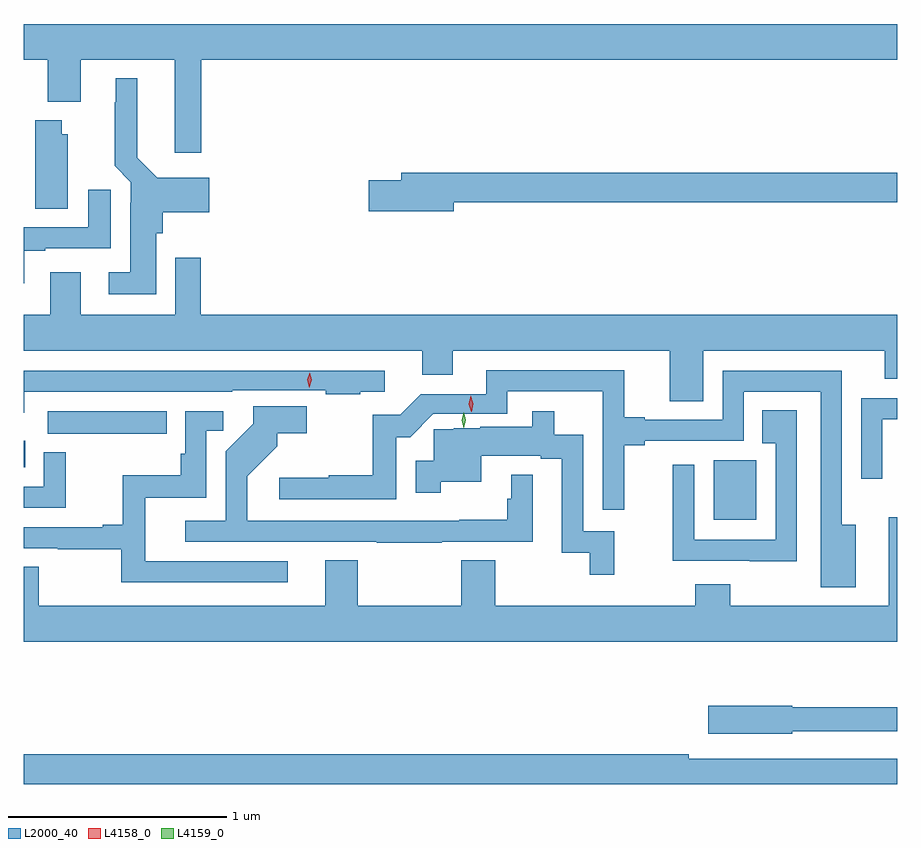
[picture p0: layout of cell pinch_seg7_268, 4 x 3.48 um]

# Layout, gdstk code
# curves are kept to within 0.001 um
import gdstk
lib = gdstk.Library(unit=1e-6, precision=1e-09)
def R(c, l, rs):  # rectangles x0, y0, x1, y1
    for r in rs: c.add(gdstk.rectangle(r[:2], r[2:], *l))
def P(c, l, *ps):  # polygons
    for p in ps: c.add(gdstk.Polygon(p, *l))
L2000_40 = (2000, 40)
L4158_0 = (4158, 0)
L4159_0 = (4159, 0)

pinch_seg7_268 = lib.new_cell('pinch_seg7_268')
R(pinch_seg7_268, L2000_40, [(666.86,1058.45,667.054,1058.722), (663.7,1058.69,663.707,1058.812), (663.81,1058.843,664.355,1058.947)])
P(pinch_seg7_268, L2000_40, [(664.514,1060.556),(667.7,1060.556),(667.7,1060.72),(663.7,1060.72),(663.7,1060.556),(663.809,1060.556),(663.809,1060.364),(663.961,1060.364),(663.961,1060.556),(664.391,1060.556),(664.391,1060.131),(664.514,1060.131)],
  [(664.306,1059.762),(664.337,1059.762),(664.337,1059.857),(664.549,1059.857),(664.549,1060.015),(664.311,1060.015),(664.219,1060.108),(664.219,1060.471),(664.121,1060.471),(664.121,1060.361),(664.117,1060.361),(664.117,1060.07),(664.191,1059.996),(664.191,1059.902),(664.187,1059.902),(664.187,1059.583),(664.089,1059.583),(664.089,1059.482),(664.306,1059.482)],
  [(663.901,1060.215),(663.874,1060.215),(663.874,1060.279),(663.752,1060.279),(663.752,1059.874),(663.901,1059.874)],
  [(665.668,1059.904),(667.7,1059.904),(667.7,1060.04),(665.429,1060.04),(665.429,1060.004),(665.28,1060.004),(665.28,1059.862),(665.668,1059.862)],
  [(663.703,1059.681),(663.799,1059.681),(663.799,1059.693),(664.099,1059.693),(664.099,1059.961),(663.995,1059.961),(663.995,1059.789),(663.7,1059.789),(663.7,1059.534),(663.703,1059.534)],
  [(666.811,1059.224),(667.643,1059.224),(667.643,1059.096),(667.7,1059.096),(667.7,1059.388),(664.511,1059.388),(664.511,1059.649),(664.395,1059.649),(664.395,1059.388),(663.961,1059.388),(663.961,1059.583),(663.821,1059.583),(663.821,1059.388),(663.7,1059.388),(663.7,1059.224),(665.525,1059.224),(665.525,1059.113),(665.665,1059.113),(665.665,1059.224),(666.659,1059.224),(666.659,1058.992),(666.811,1058.992)],
  [(667.51,1058.428),(667.446,1058.428),(667.446,1059.132),(666.9,1059.132),(666.9,1058.907),(666.544,1058.907),(666.544,1058.92),(666.449,1058.92),(666.449,1059.135),(665.817,1059.135),(665.817,1059.024),(665.517,1059.024),(665.424,1058.931),(665.298,1058.931),(665.298,1058.653),(665.097,1058.653),(665.097,1058.642),(664.869,1058.642),(664.869,1058.544),(665.406,1058.544),(665.406,1058.828),(665.469,1058.828),(665.576,1058.936),(665.914,1058.936),(665.914,1059.039),(666.351,1059.039),(666.351,1058.496),(666.45,1058.496),(666.45,1058.791),(666.544,1058.791),(666.544,1058.811),(666.996,1058.811),(666.996,1059.036),(667.35,1059.036),(667.35,1058.141),(667.51,1058.141)],
  [(663.702,1059.036),(664.655,1059.036),(664.655,1059.044),(665.083,1059.044),(665.083,1059.024),(665.24,1059.024),(665.24,1059.036),(665.353,1059.036),(665.353,1059.132),(663.7,1059.132),(663.7,1058.94),(663.702,1058.94)],
  [(667.632,1058.91),(667.7,1058.91),(667.7,1059.006),(667.536,1059.006),(667.536,1058.637),(667.632,1058.637)],
  [(665.615,1058.349),(666.031,1058.349),(666.03,1058.657),(665.933,1058.657),(665.933,1058.546),(665.914,1058.546),(665.914,1058.45),(665.695,1058.45),(665.695,1058.445),(664.723,1058.445),(664.723,1058.649),(664.861,1058.786),(664.861,1058.846),(664.996,1058.846),(664.996,1058.969),(664.752,1058.969),(664.752,1058.889),(664.626,1058.763),(664.626,1058.445),(664.44,1058.445),(664.44,1058.349),(665.317,1058.349),(665.317,1058.344),(665.615,1058.344)],
  [(667.239,1058.951),(667.081,1058.951),(667.081,1058.8),(667.143,1058.8),(667.143,1058.358),(666.771,1058.358),(666.771,1058.701),(666.673,1058.701),(666.673,1058.262),(667.024,1058.262),(667.024,1058.261),(667.239,1058.261)],
  [(666.404,1058.397),(666.261,1058.397),(666.261,1058.84),(666.13,1058.84),(666.13,1058.947),(666.029,1058.947),(666.029,1058.875),(665.79,1058.875),(665.79,1058.869),(665.669,1058.869),(665.669,1058.865),(665.577,1058.865),(665.577,1058.721),(665.495,1058.721),(665.495,1058.574),(665.609,1058.574),(665.609,1058.625),(665.794,1058.625),(665.794,1058.742),(666.068,1058.742),(666.068,1058.729),(666.164,1058.729),(666.164,1058.299),(666.291,1058.299),(666.291,1058.199),(666.404,1058.199)],
  [(664.909,1058.259),(664.256,1058.259),(664.256,1058.551),(664.536,1058.551),(664.536,1058.858),(664.613,1058.858),(664.613,1058.946),(664.44,1058.946),(664.44,1058.753),(664.42,1058.753),(664.42,1058.654),(664.153,1058.654),(664.153,1058.428),(664.061,1058.428),(664.061,1058.415),(663.7,1058.415),(663.7,1058.319),(663.856,1058.319),(663.856,1058.314),(664.146,1058.314),(664.146,1058.163),(664.909,1058.163)],
  [(663.893,1058.758),(663.792,1058.758),(663.792,1058.601),(663.7,1058.601),(663.7,1058.505),(663.893,1058.505)],
  [(667.7,1058.461),(667.661,1058.461),(667.661,1058.056),(666.936,1058.056),(666.936,1058.155),(666.776,1058.155),(666.776,1058.056),(665.859,1058.056),(665.859,1058.264),(665.704,1058.264),(665.704,1058.056),(665.229,1058.056),(665.229,1058.264),(665.081,1058.264),(665.081,1058.056),(663.768,1058.056),(663.768,1058.234),(663.7,1058.234),(663.7,1057.892),(667.7,1057.892)],
  [(667.218,1057.482),(667.7,1057.482),(667.7,1057.591),(667.218,1057.591),(667.218,1057.599),(666.834,1057.599),(666.834,1057.469),(667.218,1057.469)],
  [(667.7,1057.356),(666.746,1057.356),(666.746,1057.376),(663.7,1057.376),(663.7,1057.24),(667.7,1057.24)])
P(pinch_seg7_268, L4158_0, [(665.75,1058.945),(665.75,1058.945),(665.738,1058.98),(665.746,1059.017),(665.747,1059.017),(665.747,1059.017),(665.758,1058.982),(665.751,1058.945)],
  [(665.008,1059.055),(665.008,1059.055),(664.999,1059.09),(665.009,1059.124),(665.01,1059.124),(665.01,1059.124),(665.019,1059.09),(665.008,1059.055)])
P(pinch_seg7_268, L4159_0, [(665.716,1058.87),(665.716,1058.87),(665.706,1058.906),(665.715,1058.943),(665.715,1058.943),(665.715,1058.943),(665.725,1058.907),(665.716,1058.87)])

lib.write_gds('pinch_seg7_268.gds')
